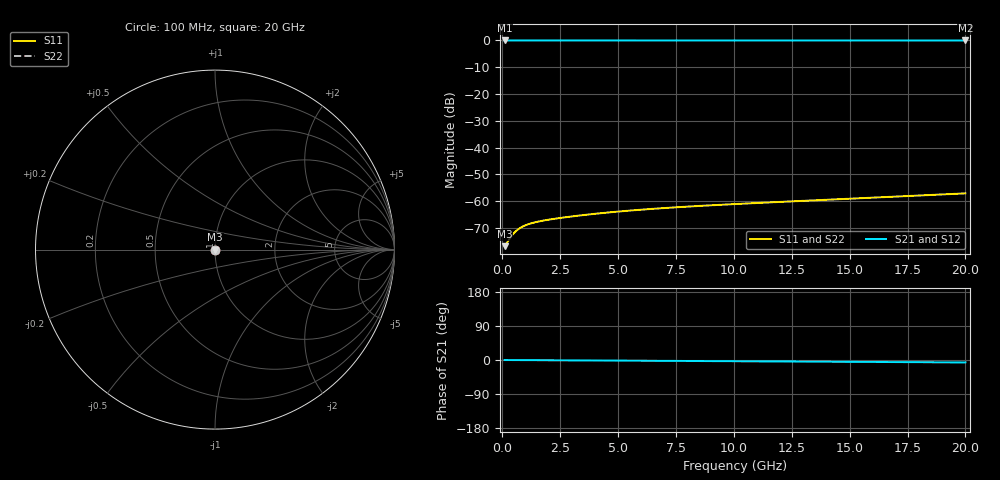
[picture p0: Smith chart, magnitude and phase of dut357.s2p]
! Touchstone file exported from HFSS 2026.1.0
!  File:  C:/ffzhzh/LocalFiles/Ansys_Project_Files/temp_train_TSV_357_1783019221_55676.aedt
!  Generated:  03:08:45 AM Jul  3, 2026
!  Design:  TSV
!  Project:  temp_train_TSV_357_1783019221_55676
! Variables:
!  h_bsmrdl = 2um
!  h_ox = 20um
!  h_rdl = 5um
!  h_sub = 64.35um
!  h_tmrdl = 5um
!  h_tsv = 64.35um
!  h_via = 3um
!  l_bsmrdl = 300um
!  l_sub = 417.08um
!  l_tmrdl = 200um
!  m_sub = 200um
!  pitch = 34.25um
!  r_tsv = 8.54um
!  s_tmrdl = 10um
!  w_bsmrdl = 18um
!  w_sub = 500um
!  w_tmrdl = 12um
!  x_tsv_center1 = 206um
!  x_tsv_center2 = 524um
!  x_tsv_center3 = 736um
!  x_tsv_center4 = 1054um
!  x_tsv_center5 = 1266um
!  x_tsv_center6 = 1584um
# GHz S MA R 50.000000
! Terminal data exported
! Port[1] = TSV1_1_T1
! Port[2] = TSV1_1_T2
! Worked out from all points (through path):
!   200 points, 100 MHz to 20 GHz, reference 50 ohm
!   highest |S21| = 0.00 dB at 100 MHz (marker M1); lowest = 0.0 dB at 20 GHz (marker M2)
!   lowest |S11| = -76.8 dB at 100 MHz (marker M3), VSWR 1.00, Z = 50 + j0.00366 ohm
!   |S11| at or under -10 dB: start of sweep to end of sweep
!   |S22| runs from -76.8 to -57.1 dB; largest |S21 - S12| = 5.8e-15
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0.1  0.0001447 14.6  0.9999 -0.0  0.9999 -0.0  0.0001447 14.6
! Gamma 0 0 0 0
! Port Impedance 50 0 50 0
0.2  0.0001667 25.0  0.9998 -0.1  0.9998 -0.1  0.0001667 25.0
0.3  0.0001952 30.8  0.9998 -0.1  0.9998 -0.1  0.0001952 30.8
0.4  0.0002251 33.5  0.9998 -0.1  0.9998 -0.1  0.0002251 33.5
0.5  0.0002535 34.3  0.9998 -0.2  0.9998 -0.2  0.0002535 34.3
0.6  0.0002793 34.2  0.9998 -0.2  0.9998 -0.2  0.0002793 34.2
0.7  0.0003021 33.5  0.9997 -0.2  0.9997 -0.2  0.0003021 33.5
0.8  0.0003222 32.6  0.9997 -0.3  0.9997 -0.3  0.0003221 32.6
1  0.0003551 30.7  0.9997 -0.3  0.9997 -0.3  0.0003551 30.7
1.3  0.0003921 28.2  0.9997 -0.4  0.9997 -0.4  0.0003921 28.2
1.5  0.0004117 26.9  0.9996 -0.5  0.9996 -0.5  0.0004116 26.9
1.8  0.0004368 25.3  0.9996 -0.6  0.9996 -0.6  0.0004367 25.3
2.5  0.0004865 22.5  0.9996 -0.8  0.9996 -0.8  0.0004865 22.5
3.5  0.0005509 19.2  0.9995 -1.1  0.9995 -1.1  0.0005509 19.2
4.3  0.0005998 16.4  0.9994 -1.4  0.9994 -1.4  0.0005997 16.4
5.1  0.0006461 13.3  0.9994 -1.7  0.9994 -1.7  0.0006459 13.4
6.8  0.0007356 6.6  0.9993 -2.2  0.9993 -2.2  0.0007354 6.6
8.3  0.0008066 0.8  0.9992 -2.7  0.9992 -2.7  0.0008063 0.8
10.1  0.0008865 -5.8  0.9991 -3.3  0.9991 -3.3  0.000886 -5.8
13.4  0.001033 -16.4  0.999 -4.3  0.999 -4.3  0.001032 -16.4
16.7  0.001199 -25.3  0.9989 -5.4  0.9989 -5.4  0.001197 -25.3
20  0.0014 -32.8  0.9987 -6.4  0.9987 -6.4  0.001398 -32.8
